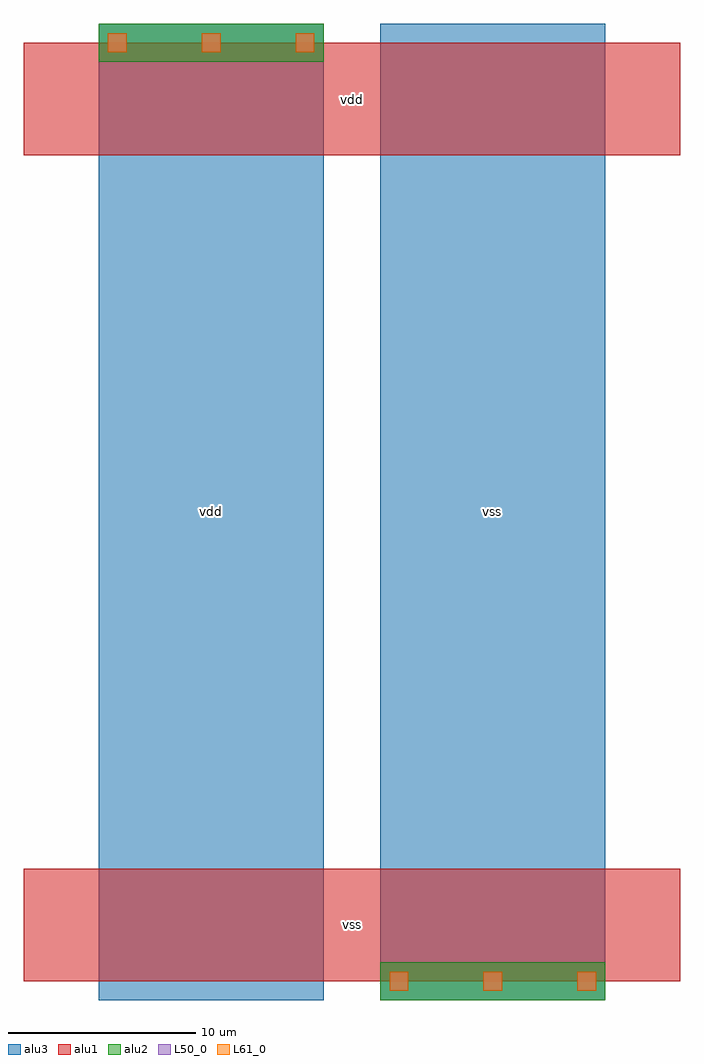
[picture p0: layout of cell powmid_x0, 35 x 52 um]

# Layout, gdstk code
import gdstk
lib = gdstk.Library(unit=1e-6, precision=1e-09)
def R(c, l, rs):  # rectangles x0, y0, x1, y1
    for r in rs: c.add(gdstk.rectangle(r[:2], r[2:], *l))
def A(c, l, x, y, w, h, nx, ny, dx, dy):  # array of equal rectangles
    R(c, l, [(x+i*dx, y+j*dy, x+i*dx+w, y+j*dy+h) for i in range(nx) for j in range(ny)])
alu1 = (49, 0)
L50_0 = (50, 0)
alu2 = (51, 0)
L61_0 = (61, 0)
alu3 = (62, 0)

powmid_x0 = lib.new_cell('powmid_x0')
R(powmid_x0, alu1, [(0,0,35,6), (0,44,35,50)])
A(powmid_x0, L50_0, 19.5, -0.5, 1, 1, 3, 1, 5, 0)
A(powmid_x0, L50_0, 4.5, 49.5, 1, 1, 3, 1, 5, 0)
R(powmid_x0, alu2, [(19,-1,31,1), (19,-1,31,1), (4,49,16,51), (4,49,16,51)])
A(powmid_x0, L61_0, 19.5, -0.5, 1, 1, 3, 1, 5, 0)
A(powmid_x0, L61_0, 4.5, 49.5, 1, 1, 3, 1, 5, 0)
R(powmid_x0, alu3, [(4,-1,16,51), (19,-1,31,51)])
powmid_x0.add(gdstk.Label('vss', (17.5,3), layer=49, texttype=0))
powmid_x0.add(gdstk.Label('vdd', (17.5,47), layer=49, texttype=0))
powmid_x0.add(gdstk.Label('vdd', (10,25), layer=62, texttype=0))
powmid_x0.add(gdstk.Label('vss', (25,25), layer=62, texttype=0))

lib.write_gds('powmid_x0.gds')
